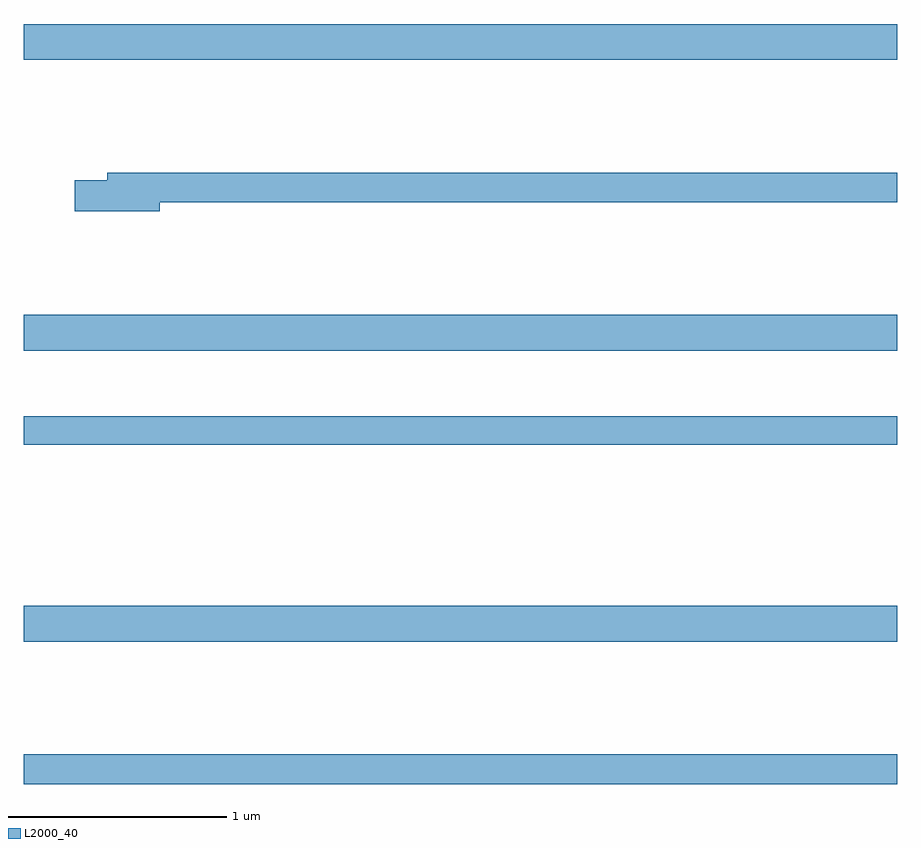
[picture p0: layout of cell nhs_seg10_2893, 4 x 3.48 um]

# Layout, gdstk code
import gdstk
lib = gdstk.Library(unit=1e-6, precision=1e-09)
def R(c, l, rs):  # rectangles x0, y0, x1, y1
    for r in rs: c.add(gdstk.rectangle(r[:2], r[2:], *l))
def A(c, l, x, y, w, h, nx, ny, dx, dy):  # array of equal rectangles
    R(c, l, [(x+i*dx, y+j*dy, x+i*dx+w, y+j*dy+h) for i in range(nx) for j in range(ny)])
def P(c, l, *ps):  # polygons
    for p in ps: c.add(gdstk.Polygon(p, *l))
L2000_40 = (2000, 40)

nhs_seg10_2893 = lib.new_cell('nhs_seg10_2893')
A(nhs_seg10_2893, L2000_40, 267, 1321.628, 4, 0.164, 1, 3, 0, 1.332)
R(nhs_seg10_2893, L2000_40, [(267,1320.976,271,1321.112), (267,1322.53,271,1322.659)])
P(nhs_seg10_2893, L2000_40, [(267.622,1323.64),(271,1323.64),(271,1323.776),(267.383,1323.776),(267.383,1323.74),(267.234,1323.74),(267.234,1323.598),(267.622,1323.598)])

lib.write_gds('nhs_seg10_2893.gds')
